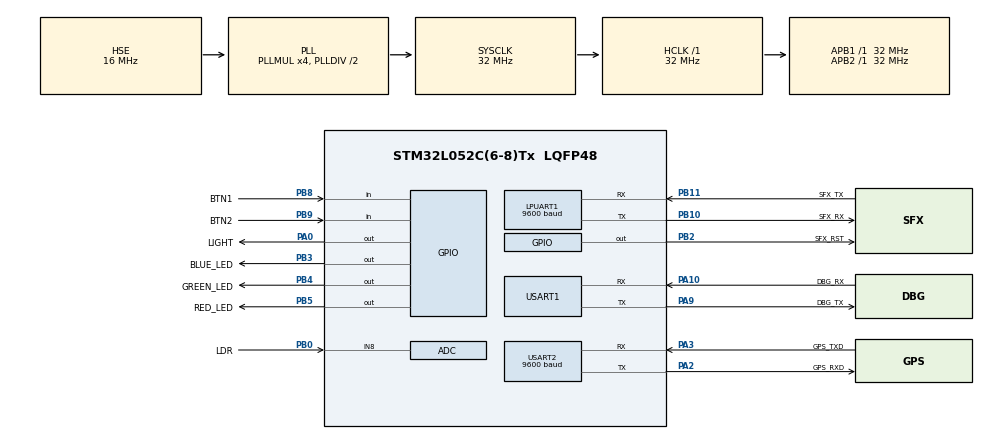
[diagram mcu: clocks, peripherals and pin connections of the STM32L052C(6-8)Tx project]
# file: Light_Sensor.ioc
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ADC.ContinuousConvMode=ENABLE
ADC.DMAContinuousRequests=ENABLE
ADC.SamplingTime=ADC_SAMPLETIME_160CYCLES_5
Dma.ADC.0.Direction=DMA_PERIPH_TO_MEMORY
Dma.ADC.0.Instance=DMA1_Channel1
Dma.ADC.0.MemDataAlignment=DMA_MDATAALIGN_WORD
Dma.ADC.0.MemInc=DMA_MINC_ENABLE
Dma.ADC.0.Mode=DMA_CIRCULAR
Dma.ADC.0.PeriphDataAlignment=DMA_PDATAALIGN_WORD
Dma.ADC.0.PeriphInc=DMA_PINC_DISABLE
Dma.ADC.0.Priority=DMA_PRIORITY_LOW
Dma.Request0=ADC
LPUART1.BaudRate=9600
LPUART1.WordLength=UART_WORDLENGTH_8B
Mcu.Family=STM32L0
Mcu.Name=STM32L052C(6-8)Tx
Mcu.Package=LQFP48
NVIC.ADC1_COMP_IRQn=true\:0\:0\:false\:false\:true\:true\:true
NVIC.DMA1_Channel1_IRQn=true\:0\:0\:false\:false\:true\:false\:true
NVIC.RNG_LPUART1_IRQn=true\:0\:0\:false\:false\:true\:true\:true
NVIC.USART1_IRQn=true\:0\:0\:false\:false\:true\:true\:true
NVIC.USART2_IRQn=true\:0\:0\:false\:false\:true\:true\:true
PA0.GPIO_Label=LIGHT
PA0.Signal=GPIO_Output
PA10.GPIO_Label=DBG_RX
PA10.Mode=Asynchronous
PA10.Signal=USART1_RX
PA2.GPIO_Label=GPS_RXD
PA2.Mode=Asynchronous
PA2.Signal=USART2_TX
PA3.GPIO_Label=GPS_TXD
PA3.Mode=Asynchronous
PA3.Signal=USART2_RX
PA9.GPIO_Label=DBG_TX
PA9.Mode=Asynchronous
PA9.Signal=USART1_TX
PB0.GPIO_Label=LDR
PB0.Mode=IN8
PB0.Signal=ADC_IN8
PB10.GPIO_Label=SFX_RX
PB10.Mode=Asynchronous
PB10.Signal=LPUART1_TX
PB11.GPIO_Label=SFX_TX
PB11.Mode=Asynchronous
PB11.Signal=LPUART1_RX
PB2.GPIO_Label=SFX_RST
PB2.GPIO_PuPd=GPIO_PULLUP
PB2.Signal=GPIO_Output
PB3.GPIO_Label=BLUE_LED
PB3.Signal=GPIO_Output
PB4.GPIO_Label=GREEN_LED
PB4.Signal=GPIO_Output
PB5.GPIO_Label=RED_LED
PB5.Signal=GPIO_Output
PB8.GPIO_Label=BTN1
PB8.Signal=GPIO_Input
PB9.GPIO_Label=BTN2
PB9.Signal=GPIO_Input
PH0-OSC_IN.Mode=HSE-External-Oscillator
PH0-OSC_IN.Signal=RCC_OSC_IN
PH1-OSC_OUT.Mode=HSE-External-Oscillator
PH1-OSC_OUT.Signal=RCC_OSC_OUT
ProjectManager.HeapSize=0x200
ProjectManager.StackSize=0x400
ProjectManager.TargetToolchain=STM32CubeIDE
RCC.AHBFreq_Value=32000000
RCC.APB1Freq_Value=32000000
RCC.APB1TimFreq_Value=32000000
RCC.APB2Freq_Value=32000000
RCC.APB2TimFreq_Value=32000000
RCC.HCLKFreq_Value=32000000
RCC.HSE_VALUE=16000000
RCC.HSI16_VALUE=16000000
RCC.HSI48_VALUE=48000000
RCC.HSI_VALUE=16000000
RCC.LSE_VALUE=32768
RCC.MSI_VALUE=2097000
RCC.PLLMUL=RCC_PLLMUL_4
RCC.PLLSourceVirtual=RCC_PLLSOURCE_HSE
RCC.SYSCLKFreq_VALUE=32000000
RCC.SYSCLKSource=RCC_SYSCLKSOURCE_PLLCLK
RCC.VCOOutputFreq_Value=64000000
USART1.VirtualMode-Asynchronous=VM_ASYNC
USART2.BaudRate=9600
USART2.VirtualMode-Asynchronous=VM_ASYNC
board=custom

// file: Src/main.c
/* USER CODE BEGIN Header */
/**
 ******************************************************************************
 * @file           : main.c
 * @brief          : Main program body
 ******************************************************************************
 * @attention
 *
 * <h2><center>&copy; Copyright (c) 2019 STMicroelectronics.
 * All rights reserved.</center></h2>
 *
 * This software component is licensed by ST under BSD 3-Clause license,
 * the "License"; You may not use this file except in compliance with the
 * License. You may obtain a copy of the License at:
 *                        opensource.org/licenses/BSD-3-Clause
 *
 ******************************************************************************
 */

/*
 * main.c
 *
 * Warefab Konnect STM32L0-SIGFOX Development Board
 *
 * Light control example
 *
 * Created on: Feb 26, 2020
 *
 * Author: Muchiri John
 * (c) wwww.warefab.com
 *
 * This software component is licensed by warefab under BSD 3-Clause license,
 * the "License"; You may not use this file except in compliance with the
 * License. You may obtain a copy of the License at:
 *
 * opensource.org/licenses/BSD-3-Clause
 *
 */

#include <stdio.h>
#include <stdlib.h>
#include <math.h>
/* USER CODE END Header */

#include "main.h"
#include "adc.h"
#include "dma.h"
#include "usart.h"
#include "gpio.h"

/* USER CODE BEGIN Includes */
#include "sigfox.h"
/* USER CODE END Includes */

/* USER CODE BEGIN PV */
static const char NMEA_NONE[] =
		"$PMTK314,0,0,0,0,0,0,0,0,0,0,0,0,0,0,0,0,0,0,0*28\r\n";
/* USER CODE END PV */

void SystemClock_Config(void);
/* USER CODE BEGIN PFP */
inline uint8_t adcToPercent(uint16_t);
/* USER CODE END PFP */

/* USER CODE BEGIN 0 */
enum {
	adc_buf_len = 16
};
uint32_t adc_data[adc_buf_len];
uint16_t ldr_output = 0;

uint8_t btn1_flag = 0;
uint8_t btn2_flag = 1;

uint32_t prev_ticks = 0;
short int temp = 0;

char buffer[32] = { 0 };

uint16_t sgfx = 0;
uint8_t t_sgfx = 0;
/* USER CODE END 0 */

int main(void) {

	/* MCU Configuration--------------------------------------------------------*/

	/* Reset of all peripherals, Initializes the Flash interface and the Systick. */
	HAL_Init();

	/* Configure the system clock */
	SystemClock_Config();

	/* Initialize all configured peripherals */
	MX_GPIO_Init();
	MX_DMA_Init();
	MX_LPUART1_UART_Init();
	MX_USART1_UART_Init();
	MX_USART2_UART_Init();
	MX_ADC_Init();
	/* USER CODE BEGIN 2 */
	//disable gps nmea output
	usart_puts(&huart2, (char*) NMEA_NONE);
	//reset sigfox module
	resetSigfoxModule();
	//print wisol info, ID/PAC
	getSigfoxPACID();
	//init adc
	HAL_ADC_Start_DMA(&hadc, adc_data, adc_buf_len);
	//init gpio
	GREEN_LED_GPIO_Port->BSRR = GREEN_LED_Pin; //green led on
	//delay
	HAL_Delay(100);
	temp = ldr_output;
	/* USER CODE END 2 */

	/* Infinite loop */
	/* USER CODE BEGIN WHILE */
	while (1) {
		if ((HAL_GPIO_ReadPin(BTN1_GPIO_Port, BTN1_Pin) == 1) || temp <= 400) {
			if (btn1_flag == 0 && btn2_flag == 1) {
				RED_LED_GPIO_Port->BSRR = RED_LED_Pin;
				GREEN_LED_GPIO_Port->BRR = GREEN_LED_Pin;
				LIGHT_GPIO_Port->BSRR = LIGHT_Pin;

				btn1_flag = 1;
				btn2_flag = 0;
				usart_puts(&huart1, (char*) "Light ON\r\n");
			}
		}

		if (HAL_GPIO_ReadPin(BTN2_GPIO_Port, BTN2_Pin) == 1 || temp >= 3500) {
			if (btn2_flag == 0 && btn1_flag == 1) {
				GREEN_LED_GPIO_Port->BSRR = GREEN_LED_Pin;
				RED_LED_GPIO_Port->BRR = RED_LED_Pin;
				LIGHT_GPIO_Port->BRR = LIGHT_Pin;

				btn1_flag = 0;
				btn2_flag = 1;
				usart_puts(&huart1, (char*) "Light OFF\r\n");
			}
		}

		if ((HAL_GetTick() - prev_ticks) > 500) {
			//ambient
			temp = ldr_output;

			sprintf(buffer, "Current Ambient: %d\r\n", temp);
			usart_puts(&huart1, buffer);

			prev_ticks = HAL_GetTick();

			sgfx++;
		}

		if(sgfx >= 240){
			t_sgfx = adcToPercent(temp);
			sprintf(buffer, "%02X", t_sgfx);
			sendSigfoxMessage(buffer);
			sgfx = 0;
		}

		HAL_Delay(1); //yield
		/* USER CODE END WHILE */

	}
}

void SystemClock_Config(void) {
	RCC_OscInitTypeDef RCC_OscInitStruct = { 0 };
	RCC_ClkInitTypeDef RCC_ClkInitStruct = { 0 };
	RCC_PeriphCLKInitTypeDef PeriphClkInit = { 0 };

	/** Configure the main internal regulator output voltage
	 */
	__HAL_PWR_VOLTAGESCALING_CONFIG(PWR_REGULATOR_VOLTAGE_SCALE1);
	/** Initializes the CPU, AHB and APB busses clocks
	 */
	RCC_OscInitStruct.OscillatorType = RCC_OSCILLATORTYPE_HSE;
	RCC_OscInitStruct.HSEState = RCC_HSE_ON;
	RCC_OscInitStruct.PLL.PLLState = RCC_PLL_ON;
	RCC_OscInitStruct.PLL.PLLSource = RCC_PLLSOURCE_HSE;
	RCC_OscInitStruct.PLL.PLLMUL = RCC_PLLMUL_4;
	RCC_OscInitStruct.PLL.PLLDIV = RCC_PLLDIV_2;
	if (HAL_RCC_OscConfig(&RCC_OscInitStruct) != HAL_OK) {
		Error_Handler();
	}
	/** Initializes the CPU, AHB and APB busses clocks
	 */
	RCC_ClkInitStruct.ClockType = RCC_CLOCKTYPE_HCLK | RCC_CLOCKTYPE_SYSCLK
			| RCC_CLOCKTYPE_PCLK1 | RCC_CLOCKTYPE_PCLK2;
	RCC_ClkInitStruct.SYSCLKSource = RCC_SYSCLKSOURCE_PLLCLK;
	RCC_ClkInitStruct.AHBCLKDivider = RCC_SYSCLK_DIV1;
	RCC_ClkInitStruct.APB1CLKDivider = RCC_HCLK_DIV1;
	RCC_ClkInitStruct.APB2CLKDivider = RCC_HCLK_DIV1;

	if (HAL_RCC_ClockConfig(&RCC_ClkInitStruct, FLASH_LATENCY_1) != HAL_OK) {
		Error_Handler();
	}
	PeriphClkInit.PeriphClockSelection = RCC_PERIPHCLK_USART1
			| RCC_PERIPHCLK_USART2 | RCC_PERIPHCLK_LPUART1;
	PeriphClkInit.Usart1ClockSelection = RCC_USART1CLKSOURCE_PCLK2;
	PeriphClkInit.Usart2ClockSelection = RCC_USART2CLKSOURCE_PCLK1;
	PeriphClkInit.Lpuart1ClockSelection = RCC_LPUART1CLKSOURCE_PCLK1;
	if (HAL_RCCEx_PeriphCLKConfig(&PeriphClkInit) != HAL_OK) {
		Error_Handler();
	}
}

/* USER CODE BEGIN 4 */
void HAL_ADC_ConvCpltCallback(ADC_HandleTypeDef *hadc) {
	uint8_t x;
	uint32_t adc_val = 0;

	for (x = 0; x < adc_buf_len; x++) {
		adc_val += adc_data[x];
	}
	ldr_output = (uint16_t) (adc_val / adc_buf_len);
}

inline uint8_t adcToPercent(uint16_t val) {
	uint8_t pct = ceil((val * 100) / 4095.0);
	return pct;
}
/* USER CODE END 4 */

void Error_Handler(void) {
}

/************************ (C) COPYRIGHT STMicroelectronics *****END OF FILE****/
